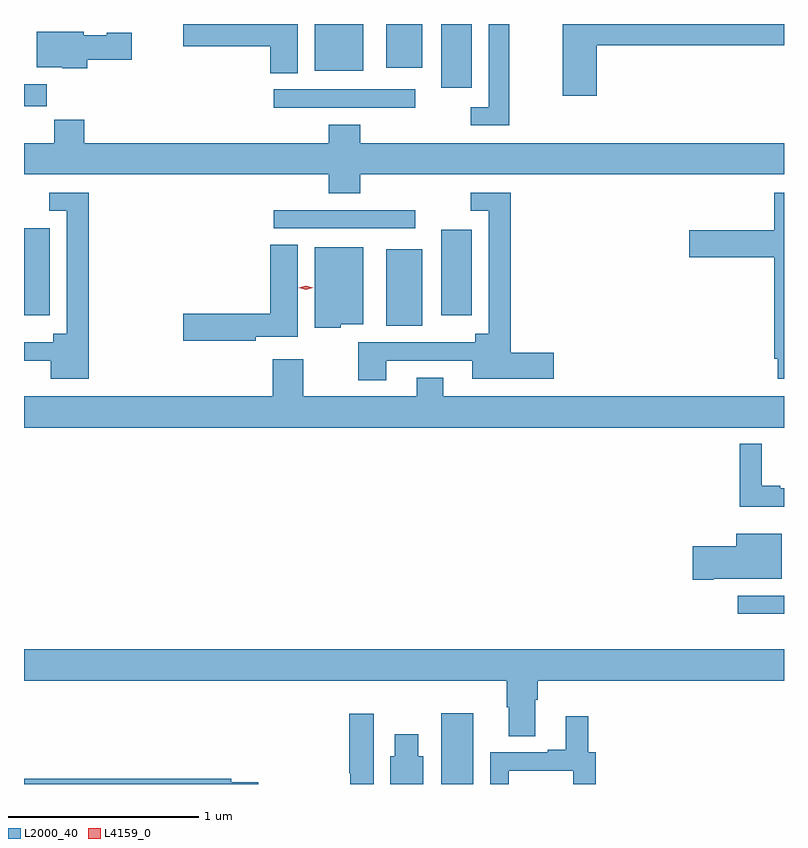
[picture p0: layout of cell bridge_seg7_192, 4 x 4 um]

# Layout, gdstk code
import gdstk
lib = gdstk.Library(unit=1e-6, precision=1e-09)
def R(c, l, rs):  # rectangles x0, y0, x1, y1
    for r in rs: c.add(gdstk.rectangle(r[:2], r[2:], *l))
def P(c, l, *ps):  # polygons
    for p in ps: c.add(gdstk.Polygon(p, *l))
L2000_40 = (2000, 40)
L4159_0 = (4159, 0)

bridge_seg7_192 = lib.new_cell('bridge_seg7_192')
R(bridge_seg7_192, L2000_40, [(397.352,1005.4,397.522,1005.772), (398.913,1006.295,399.157,1006.392), (397.064,1007.813,397.252,1008.214), (395.157,1007.868,395.293,1008.325), (397.352,1007.868,397.513,1008.316), (396.471,1008.324,397.216,1008.42), (396.471,1008.96,397.216,1009.056), (395.157,1008.966,395.276,1009.084), (397.352,1009.065,397.513,1009.4), (396.686,1009.154,396.943,1009.4), (397.064,1009.169,397.252,1009.4)])
P(bridge_seg7_192, L2000_40, [(398.171,1009.288),(399.157,1009.288),(399.157,1009.4),(397.993,1009.4),(397.993,1009.023),(398.171,1009.023)],
  [(397.711,1009.4),(397.602,1009.4),(397.602,1008.963),(397.509,1008.963),(397.509,1008.867),(397.711,1008.867)],
  [(396.598,1009.4),(395.994,1009.4),(395.994,1009.283),(396.452,1009.283),(396.452,1009.141),(396.598,1009.141)],
  [(395.489,1009.213),(395.725,1009.213),(395.725,1009.355),(395.592,1009.355),(395.592,1009.342),(395.472,1009.342),(395.472,1009.36),(395.225,1009.36),(395.225,1009.172),(395.358,1009.172),(395.358,1009.166),(395.489,1009.166)],
  [(396.926,1008.608),(399.157,1008.608),(399.157,1008.772),(396.926,1008.772),(396.926,1008.871),(396.761,1008.871),(396.761,1008.772),(395.474,1008.772),(395.474,1008.896),(395.317,1008.896),(395.317,1008.772),(395.157,1008.772),(395.157,1008.608),(396.761,1008.608),(396.761,1008.509),(396.926,1008.509)],
  [(399.157,1008.513),(399.106,1008.513),(399.106,1008.315),(398.658,1008.315),(398.658,1008.173),(399.106,1008.173),(399.106,1007.638),(399.125,1007.638),(399.125,1007.534),(399.157,1007.534)],
  [(397.063,1007.628),(397.517,1007.628),(397.517,1007.534),(397.945,1007.534),(397.945,1007.669),(397.718,1007.669),(397.718,1008.513),(397.509,1008.513),(397.509,1008.417),(397.602,1008.417),(397.602,1007.77),(397.532,1007.77),(397.532,1007.724),(396.916,1007.724),(396.916,1007.526),(397.063,1007.526)],
  [(395.498,1008.513),(395.289,1008.513),(395.289,1008.416),(395.382,1008.416),(395.382,1007.77),(395.312,1007.77),(395.312,1007.724),(395.157,1007.724),(395.157,1007.628),(395.297,1007.628),(395.297,1007.534),(395.498,1007.534)],
  [(396.378,1007.753),(396.598,1007.753),(396.598,1008.239),(396.452,1008.239),(396.452,1007.876),(395.994,1007.876),(395.994,1007.734),(396.378,1007.734)],
  [(396.825,1007.819),(396.943,1007.819),(396.943,1008.226),(396.686,1008.226),(396.686,1007.801),(396.825,1007.801)],
  [(399.157,1007.44),(397.363,1007.44),(397.363,1007.539),(397.223,1007.539),(397.223,1007.44),(396.627,1007.44),(396.627,1007.635),(396.467,1007.635),(396.467,1007.44),(395.157,1007.44),(395.157,1007.276),(399.157,1007.276)],
  [(399.157,1006.956),(399.136,1006.956),(399.136,1006.969),(399.04,1006.969),(399.04,1007.191),(398.923,1007.191),(398.923,1006.859),(399.157,1006.859)],
  [(398.788,1006.481),(399.145,1006.481),(399.145,1006.717),(398.906,1006.717),(398.906,1006.652),(398.676,1006.652),(398.676,1006.474),(398.788,1006.474)],
  [(397.849,1005.844),(397.862,1005.844),(397.862,1005.944),(399.157,1005.944),(399.157,1006.108),(395.157,1006.108),(395.157,1005.944),(397.697,1005.944),(397.697,1005.804),(397.709,1005.804),(397.709,1005.652),(397.849,1005.652)],
  [(396.997,1005.769),(396.869,1005.769),(396.869,1005.456),(396.874,1005.456),(396.874,1005.4),(396.997,1005.4)],
  [(397.707,1005.471),(398.049,1005.471),(398.049,1005.4),(398.165,1005.4),(398.165,1005.567),(398.126,1005.567),(398.126,1005.757),(398.009,1005.757),(398.009,1005.58),(397.913,1005.58),(397.913,1005.567),(397.611,1005.567),(397.611,1005.4),(397.707,1005.4)],
  [(397.258,1005.546),(397.231,1005.546),(397.231,1005.661),(397.109,1005.661),(397.109,1005.546),(397.085,1005.546),(397.085,1005.4),(397.258,1005.4)],
  [(396.39,1005.408),(396.248,1005.408),(396.248,1005.428),(395.157,1005.428),(395.157,1005.4),(396.39,1005.4)])
P(bridge_seg7_192, L4159_0, [(396.64,1008.002),(396.602,1008.012),(396.602,1008.012),(396.602,1008.012),(396.64,1008.022),(396.679,1008.012),(396.679,1008.012),(396.679,1008.011)])

lib.write_gds('bridge_seg7_192.gds')
